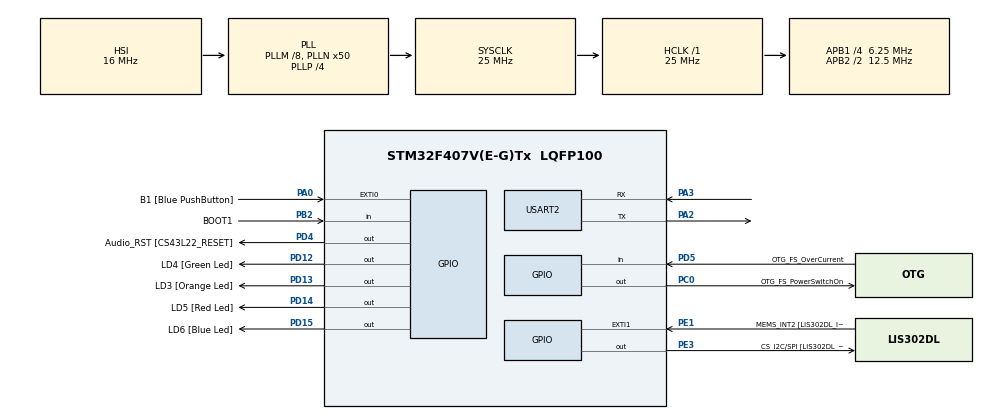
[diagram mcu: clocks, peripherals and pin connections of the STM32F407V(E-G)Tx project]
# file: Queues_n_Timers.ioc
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Mcu.Family=STM32F4
Mcu.Name=STM32F407V(E-G)Tx
Mcu.Package=LQFP100
NVIC.PriorityGroup=NVIC_PRIORITYGROUP_4
NVIC.TIM6_DAC_IRQn=true\:15\:0\:false\:false\:true\:false\:true\:true
NVIC.TimeBase=TIM6_DAC_IRQn
NVIC.TimeBaseIP=TIM6
NVIC.USART2_IRQn=true\:6\:0\:true\:false\:true\:true\:true\:true
PA0-WKUP.GPIO_Label=B1 [Blue PushButton]
PA0-WKUP.Signal=GPXTI0
PA10.GPIO_Label=OTG_FS_ID
PA10.GPIO_Mode=GPIO_MODE_AF_PP
PA10.GPIO_PuPd=GPIO_NOPULL
PA10.GPIO_Speed=GPIO_SPEED_FREQ_LOW
PA10.Signal=USB_OTG_FS_ID
PA11.GPIO_Label=OTG_FS_DM
PA11.GPIO_Mode=GPIO_MODE_AF_PP
PA11.GPIO_PuPd=GPIO_NOPULL
PA11.GPIO_Speed=GPIO_SPEED_FREQ_LOW
PA11.Signal=USB_OTG_FS_DM
PA12.GPIO_Label=OTG_FS_DP
PA12.GPIO_Mode=GPIO_MODE_AF_PP
PA12.GPIO_PuPd=GPIO_NOPULL
PA12.GPIO_Speed=GPIO_SPEED_FREQ_LOW
PA12.Signal=USB_OTG_FS_DP
PA13.GPIO_Label=SWDIO
PA13.Signal=SYS_JTMS-SWDIO
PA14.GPIO_Label=SWCLK
PA14.Signal=SYS_JTCK-SWCLK
PA2.Mode=Asynchronous
PA2.Signal=USART2_TX
PA3.Mode=Asynchronous
PA3.Signal=USART2_RX
PA4.GPIO_Label=I2S3_WS [CS43L22_LRCK]
PA4.GPIO_Mode=GPIO_MODE_AF_PP
PA4.GPIO_PuPd=GPIO_NOPULL
PA4.GPIO_Speed=GPIO_SPEED_FREQ_LOW
PA4.Signal=I2S3_WS
PA5.GPIO_Label=SPI1_SCK [LIS302DL_SCL/SPC]
PA5.GPIO_Mode=GPIO_MODE_AF_PP
PA5.GPIO_PuPd=GPIO_NOPULL
PA5.GPIO_Speed=GPIO_SPEED_FREQ_LOW
PA5.Signal=SPI1_SCK
PA6.GPIO_Label=SPI1_MISO [LIS302DL_SDO]
PA6.GPIO_Mode=GPIO_MODE_AF_PP
PA6.GPIO_PuPd=GPIO_NOPULL
PA6.GPIO_Speed=GPIO_SPEED_FREQ_LOW
PA6.Signal=SPI1_MISO
PA7.GPIO_Label=SPI1_MOSI [LIS302DL_SDA/SDI/SDO]
PA7.GPIO_Mode=GPIO_MODE_AF_PP
PA7.GPIO_PuPd=GPIO_NOPULL
PA7.GPIO_Speed=GPIO_SPEED_FREQ_LOW
PA7.Signal=SPI1_MOSI
PA9.GPIO_Label=VBUS_FS
PA9.GPIO_Mode=GPIO_MODE_INPUT
PA9.GPIO_PuPd=GPIO_NOPULL
PA9.Signal=USB_OTG_FS_VBUS
PB10.GPIO_Label=CLK_IN [MP45DT02_CLK]
PB10.GPIO_Mode=GPIO_MODE_AF_PP
PB10.GPIO_PuPd=GPIO_NOPULL
PB10.GPIO_Speed=GPIO_SPEED_FREQ_LOW
PB10.Signal=I2S2_CK
PB2.GPIO_Label=BOOT1
PB2.GPIO_Mode=GPIO_MODE_INPUT
PB2.GPIO_PuPd=GPIO_NOPULL
PB2.Signal=GPIO_Input
PB3.GPIO_Label=SWO
PB3.Signal=SYS_JTDO-SWO
PB6.GPIO_Label=Audio_SCL [CS43L22_SCL]
PB6.GPIO_Mode=GPIO_MODE_AF_OD
PB6.GPIO_PuPd=GPIO_NOPULL
PB6.GPIO_Speed=GPIO_SPEED_FREQ_LOW
PB6.Signal=I2C1_SCL
PB9.GPIO_Label=Audio_SDA [CS43L22_SDA]
PB9.GPIO_Mode=GPIO_MODE_AF_OD
PB9.GPIO_PuPd=GPIO_NOPULL
PB9.GPIO_Speed=GPIO_SPEED_FREQ_LOW
PB9.Signal=I2C1_SDA
PC0.GPIO_Label=OTG_FS_PowerSwitchOn
PC0.GPIO_PuPd=GPIO_NOPULL
PC0.GPIO_Speed=GPIO_SPEED_FREQ_LOW
PC0.PinState=GPIO_PIN_SET
PC0.Signal=GPIO_Output
PC10.GPIO_Label=I2S3_SCK [CS43L22_SCLK]
PC10.GPIO_Mode=GPIO_MODE_AF_PP
PC10.GPIO_PuPd=GPIO_NOPULL
PC10.GPIO_Speed=GPIO_SPEED_FREQ_LOW
PC10.Signal=I2S3_CK
PC12.GPIO_Label=I2S3_SD [CS43L22_SDIN]
PC12.GPIO_Mode=GPIO_MODE_AF_PP
PC12.GPIO_PuPd=GPIO_NOPULL
PC12.GPIO_Speed=GPIO_SPEED_FREQ_LOW
PC12.Signal=I2S3_SD
PC14-OSC32_IN.GPIO_Label=PC14-OSC32_IN
PC14-OSC32_IN.Signal=RCC_OSC32_IN
PC15-OSC32_OUT.GPIO_Label=PC15-OSC32_OUT
PC15-OSC32_OUT.Signal=RCC_OSC32_OUT
PC3.GPIO_Label=PDM_OUT [MP45DT02_DOUT]
PC3.GPIO_Mode=GPIO_MODE_AF_PP
PC3.GPIO_PuPd=GPIO_NOPULL
PC3.GPIO_Speed=GPIO_SPEED_FREQ_LOW
PC3.Signal=I2S2_SD
PC7.GPIO_Label=I2S3_MCK [CS43L22_MCLK]
PC7.GPIO_Mode=GPIO_MODE_AF_PP
PC7.GPIO_PuPd=GPIO_NOPULL
PC7.GPIO_Speed=GPIO_SPEED_FREQ_LOW
PC7.Signal=I2S3_MCK
PD12.GPIO_Label=LD4 [Green Led]
PD12.GPIO_PuPd=GPIO_NOPULL
PD12.GPIO_Speed=GPIO_SPEED_FREQ_LOW
PD12.Signal=GPIO_Output
PD13.GPIO_Label=LD3 [Orange Led]
PD13.GPIO_PuPd=GPIO_NOPULL
PD13.GPIO_Speed=GPIO_SPEED_FREQ_LOW
PD13.Signal=GPIO_Output
PD14.GPIO_Label=LD5 [Red Led]
PD14.GPIO_PuPd=GPIO_NOPULL
PD14.GPIO_Speed=GPIO_SPEED_FREQ_LOW
PD14.Signal=GPIO_Output
PD15.GPIO_Label=LD6 [Blue Led]
PD15.GPIO_PuPd=GPIO_NOPULL
PD15.GPIO_Speed=GPIO_SPEED_FREQ_LOW
PD15.Signal=GPIO_Output
PD4.GPIO_Label=Audio_RST [CS43L22_RESET]
PD4.GPIO_PuPd=GPIO_NOPULL
PD4.GPIO_Speed=GPIO_SPEED_FREQ_LOW
PD4.Signal=GPIO_Output
PD5.GPIO_Label=OTG_FS_OverCurrent
PD5.GPIO_Mode=GPIO_MODE_INPUT
PD5.GPIO_PuPd=GPIO_NOPULL
PD5.Signal=GPIO_Input
PE1.GPIO_Label=MEMS_INT2 [LIS302DL_INT2]
PE1.GPIO_ModeDefaultEXTI=GPIO_MODE_EVT_RISING
PE1.GPIO_PuPd=GPIO_NOPULL
PE1.Signal=GPXTI1
PE3.GPIO_Label=CS_I2C/SPI [LIS302DL_CS_I2C/SPI]
PE3.GPIO_PuPd=GPIO_NOPULL
PE3.GPIO_Speed=GPIO_SPEED_FREQ_LOW
PE3.Signal=GPIO_Output
PH0-OSC_IN.GPIO_Label=PH0-OSC_IN
PH0-OSC_IN.Signal=RCC_OSC_IN
PH1-OSC_OUT.GPIO_Label=PH1-OSC_OUT
PH1-OSC_OUT.Signal=RCC_OSC_OUT
ProjectManager.HeapSize=0x200
ProjectManager.StackSize=0x400
ProjectManager.TargetToolchain=STM32CubeIDE
RCC.48MHZClocksFreq_Value=14285714.285714285
RCC.AHBFreq_Value=25000000
RCC.APB1CLKDivider=RCC_HCLK_DIV4
RCC.APB1Freq_Value=6250000
RCC.APB1TimFreq_Value=12500000
RCC.APB2CLKDivider=RCC_HCLK_DIV2
RCC.APB2Freq_Value=12500000
RCC.APB2TimFreq_Value=25000000
RCC.CortexFreq_Value=25000000
RCC.HCLKFreq_Value=25000000
RCC.HSE_VALUE=8000000
RCC.HSI_VALUE=16000000
RCC.LSE_VALUE=32768
RCC.PLLM=8
RCC.PLLN=50
RCC.PLLP=RCC_PLLP_DIV4
RCC.PLLQ=7
RCC.SYSCLKFreq_VALUE=25000000
RCC.SYSCLKSource=RCC_SYSCLKSOURCE_PLLCLK
RCC.VCOOutputFreq_Value=100000000
RTC.HourFormat=RTC_HOURFORMAT_12
USART2.VirtualMode=VM_ASYNC
VP_RTC_VS_RTC_Activate.Mode=RTC_Enabled
VP_SYS_VS_tim6.Mode=TIM6
board=STM32F407G-DISC1

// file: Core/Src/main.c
/* USER CODE BEGIN Header */
/**
  ******************************************************************************
  * @file           : main.c
  * @brief          : Main program body
  ******************************************************************************
  * @attention
  *
  * Copyright (c) 2026 STMicroelectronics.
  * All rights reserved.
  *
  * This software is licensed under terms that can be found in the LICENSE file
  * in the root directory of this software component.
  * If no LICENSE file comes with this software, it is provided AS-IS.
  *
  ******************************************************************************
  */
/* USER CODE END Header */
#include "main.h"

/* USER CODE BEGIN Includes */
#include <stdio.h>
/* USER CODE END Includes */

RTC_HandleTypeDef hrtc;

UART_HandleTypeDef huart2;

/* USER CODE BEGIN PV */
#define DWT_CTRL   (*(volatile uint32_t*)0xE0001000)  //DWT is downcounter uswesd for timestamps which are used in SEGGER view , not usefull for this project

state_t curr_state = sMainMenu;
TaskHandle_t  handle_menu_task,handle_cmd_task,handle_print_task,handle_led_task,handle_rtc_task;
QueueHandle_t q_user_data,q_print_msg;
TimerHandle_t handle_led_timer[4];
/* USER CODE END PV */

void SystemClock_Config(void);
static void MX_GPIO_Init(void);
static void MX_RTC_Init(void);
static void MX_USART2_UART_Init(void);
/* USER CODE BEGIN PFP */
void led_effect_callback(TimerHandle_t xTimer);

/* USER CODE END PFP */

/* USER CODE BEGIN 0 */

volatile uint8_t user_data;

/* USER CODE END 0 */

int main(void)
{

  /* USER CODE BEGIN 1 */
	BaseType_t status;
  /* USER CODE END 1 */

  /* MCU Configuration--------------------------------------------------------*/

  /* Reset of all peripherals, Initializes the Flash interface and the Systick. */
  HAL_Init();

  /* Configure the system clock */
  SystemClock_Config();

  /* Initialize all configured peripherals */
  MX_GPIO_Init();
  MX_RTC_Init();
  MX_USART2_UART_Init();
  /* USER CODE BEGIN 2 */
  status = xTaskCreate(menu_task,"menu_task", 250,NULL,2, &handle_menu_task);
  configASSERT(status == pdPASS);

  status = xTaskCreate(cmd_task,"cmd_task", 250,NULL,2, &handle_cmd_task);
  configASSERT(status == pdPASS);

  status = xTaskCreate(print_task,"print_task", 250,NULL,2, &handle_print_task);
  configASSERT(status == pdPASS);

  status = xTaskCreate(led_task,"led_task", 250,NULL,2, &handle_led_task);
  configASSERT(status == pdPASS);

  /*status = xTaskCreate(rtc_task,"rtc_task", 250,NULL,2, &handle_rtc_task);
  configASSERT(status == pdPASS);
  */

  q_user_data = xQueueCreate(10,sizeof(char)); //creates an queue dynamically
  configASSERT(q_user_data !=NULL);

  q_print_msg = xQueueCreate(10,sizeof(size_t)); //creates an queue dynamically
  configASSERT(q_print_msg !=NULL);

  //create 4 s/w timers
  for(uint8_t i=0;i<4;i++)
  {
	  handle_led_timer[i]=xTimerCreate("led_timer",pdMS_TO_TICKS(500), pdTRUE,(void*)(i+1),led_effect_callback);
	  //callback is called when the timer expires

  }

  HAL_UART_Receive_IT(&huart2, (uint8_t *)&user_data,1);

  vTaskStartScheduler();

  /* USER CODE END 2 */

  /* Infinite loop */
  while (1)
  {

  }
}

void SystemClock_Config(void)
{
  RCC_OscInitTypeDef RCC_OscInitStruct = {0};
  RCC_ClkInitTypeDef RCC_ClkInitStruct = {0};

  /** Configure the main internal regulator output voltage
  */
  __HAL_RCC_PWR_CLK_ENABLE();
  __HAL_PWR_VOLTAGESCALING_CONFIG(PWR_REGULATOR_VOLTAGE_SCALE1);

  /** Initializes the RCC Oscillators according to the specified parameters
  * in the RCC_OscInitTypeDef structure.
  */
  RCC_OscInitStruct.OscillatorType = RCC_OSCILLATORTYPE_HSI|RCC_OSCILLATORTYPE_LSI;
  RCC_OscInitStruct.HSIState = RCC_HSI_ON;
  RCC_OscInitStruct.HSICalibrationValue = RCC_HSICALIBRATION_DEFAULT;
  RCC_OscInitStruct.LSIState = RCC_LSI_ON;
  RCC_OscInitStruct.PLL.PLLState = RCC_PLL_ON;
  RCC_OscInitStruct.PLL.PLLSource = RCC_PLLSOURCE_HSI;
  RCC_OscInitStruct.PLL.PLLM = 8;
  RCC_OscInitStruct.PLL.PLLN = 50;
  RCC_OscInitStruct.PLL.PLLP = RCC_PLLP_DIV4;
  RCC_OscInitStruct.PLL.PLLQ = 7;
  if (HAL_RCC_OscConfig(&RCC_OscInitStruct) != HAL_OK)
  {
    Error_Handler();
  }

  /** Initializes the CPU, AHB and APB buses clocks
  */
  RCC_ClkInitStruct.ClockType = RCC_CLOCKTYPE_HCLK|RCC_CLOCKTYPE_SYSCLK
                              |RCC_CLOCKTYPE_PCLK1|RCC_CLOCKTYPE_PCLK2;
  RCC_ClkInitStruct.SYSCLKSource = RCC_SYSCLKSOURCE_PLLCLK;
  RCC_ClkInitStruct.AHBCLKDivider = RCC_SYSCLK_DIV1;
  RCC_ClkInitStruct.APB1CLKDivider = RCC_HCLK_DIV4;
  RCC_ClkInitStruct.APB2CLKDivider = RCC_HCLK_DIV2;

  if (HAL_RCC_ClockConfig(&RCC_ClkInitStruct, FLASH_LATENCY_0) != HAL_OK)
  {
    Error_Handler();
  }
}

static void MX_RTC_Init(void)
{

  /** Initialize RTC Only
  */
  hrtc.Instance = RTC;
  hrtc.Init.HourFormat = RTC_HOURFORMAT_12;
  hrtc.Init.AsynchPrediv = 127;
  hrtc.Init.SynchPrediv = 255;
  hrtc.Init.OutPut = RTC_OUTPUT_DISABLE;
  hrtc.Init.OutPutPolarity = RTC_OUTPUT_POLARITY_HIGH;
  hrtc.Init.OutPutType = RTC_OUTPUT_TYPE_OPENDRAIN;
  if (HAL_RTC_Init(&hrtc) != HAL_OK)
  {
    Error_Handler();
  }

}

static void MX_USART2_UART_Init(void)
{

  huart2.Instance = USART2;
  huart2.Init.BaudRate = 115200;
  huart2.Init.WordLength = UART_WORDLENGTH_8B;
  huart2.Init.StopBits = UART_STOPBITS_1;
  huart2.Init.Parity = UART_PARITY_NONE;
  huart2.Init.Mode = UART_MODE_TX_RX;
  huart2.Init.HwFlowCtl = UART_HWCONTROL_NONE;
  huart2.Init.OverSampling = UART_OVERSAMPLING_16;
  if (HAL_UART_Init(&huart2) != HAL_OK)
  {
    Error_Handler();
  }

}

static void MX_GPIO_Init(void)
{
  GPIO_InitTypeDef GPIO_InitStruct = {0};

  /* GPIO Ports Clock Enable */
  __HAL_RCC_GPIOE_CLK_ENABLE();
  __HAL_RCC_GPIOC_CLK_ENABLE();
  __HAL_RCC_GPIOH_CLK_ENABLE();
  __HAL_RCC_GPIOA_CLK_ENABLE();
  __HAL_RCC_GPIOB_CLK_ENABLE();
  __HAL_RCC_GPIOD_CLK_ENABLE();

  /*Configure GPIO pin Output Level */
  HAL_GPIO_WritePin(CS_I2C_SPI_GPIO_Port, CS_I2C_SPI_Pin, GPIO_PIN_RESET);

  /*Configure GPIO pin Output Level */
  HAL_GPIO_WritePin(OTG_FS_PowerSwitchOn_GPIO_Port, OTG_FS_PowerSwitchOn_Pin, GPIO_PIN_SET);

  /*Configure GPIO pin Output Level */
  HAL_GPIO_WritePin(GPIOD, LD4_Pin|LD3_Pin|LD5_Pin|LD6_Pin
                          |Audio_RST_Pin, GPIO_PIN_RESET);

  /*Configure GPIO pin : CS_I2C_SPI_Pin */
  GPIO_InitStruct.Pin = CS_I2C_SPI_Pin;
  GPIO_InitStruct.Mode = GPIO_MODE_OUTPUT_PP;
  GPIO_InitStruct.Pull = GPIO_NOPULL;
  GPIO_InitStruct.Speed = GPIO_SPEED_FREQ_LOW;
  HAL_GPIO_Init(CS_I2C_SPI_GPIO_Port, &GPIO_InitStruct);

  /*Configure GPIO pin : OTG_FS_PowerSwitchOn_Pin */
  GPIO_InitStruct.Pin = OTG_FS_PowerSwitchOn_Pin;
  GPIO_InitStruct.Mode = GPIO_MODE_OUTPUT_PP;
  GPIO_InitStruct.Pull = GPIO_NOPULL;
  GPIO_InitStruct.Speed = GPIO_SPEED_FREQ_LOW;
  HAL_GPIO_Init(OTG_FS_PowerSwitchOn_GPIO_Port, &GPIO_InitStruct);

  /*Configure GPIO pin : PDM_OUT_Pin */
  GPIO_InitStruct.Pin = PDM_OUT_Pin;
  GPIO_InitStruct.Mode = GPIO_MODE_AF_PP;
  GPIO_InitStruct.Pull = GPIO_NOPULL;
  GPIO_InitStruct.Speed = GPIO_SPEED_FREQ_LOW;
  GPIO_InitStruct.Alternate = GPIO_AF5_SPI2;
  HAL_GPIO_Init(PDM_OUT_GPIO_Port, &GPIO_InitStruct);

  /*Configure GPIO pin : B1_Pin */
  GPIO_InitStruct.Pin = B1_Pin;
  GPIO_InitStruct.Mode = GPIO_MODE_IT_RISING;
  GPIO_InitStruct.Pull = GPIO_NOPULL;
  HAL_GPIO_Init(B1_GPIO_Port, &GPIO_InitStruct);

  /*Configure GPIO pin : I2S3_WS_Pin */
  GPIO_InitStruct.Pin = I2S3_WS_Pin;
  GPIO_InitStruct.Mode = GPIO_MODE_AF_PP;
  GPIO_InitStruct.Pull = GPIO_NOPULL;
  GPIO_InitStruct.Speed = GPIO_SPEED_FREQ_LOW;
  GPIO_InitStruct.Alternate = GPIO_AF6_SPI3;
  HAL_GPIO_Init(I2S3_WS_GPIO_Port, &GPIO_InitStruct);

  /*Configure GPIO pins : SPI1_SCK_Pin SPI1_MISO_Pin SPI1_MOSI_Pin */
  GPIO_InitStruct.Pin = SPI1_SCK_Pin|SPI1_MISO_Pin|SPI1_MOSI_Pin;
  GPIO_InitStruct.Mode = GPIO_MODE_AF_PP;
  GPIO_InitStruct.Pull = GPIO_NOPULL;
  GPIO_InitStruct.Speed = GPIO_SPEED_FREQ_LOW;
  GPIO_InitStruct.Alternate = GPIO_AF5_SPI1;
  HAL_GPIO_Init(GPIOA, &GPIO_InitStruct);

  /*Configure GPIO pin : BOOT1_Pin */
  GPIO_InitStruct.Pin = BOOT1_Pin;
  GPIO_InitStruct.Mode = GPIO_MODE_INPUT;
  GPIO_InitStruct.Pull = GPIO_NOPULL;
  HAL_GPIO_Init(BOOT1_GPIO_Port, &GPIO_InitStruct);

  /*Configure GPIO pin : CLK_IN_Pin */
  GPIO_InitStruct.Pin = CLK_IN_Pin;
  GPIO_InitStruct.Mode = GPIO_MODE_AF_PP;
  GPIO_InitStruct.Pull = GPIO_NOPULL;
  GPIO_InitStruct.Speed = GPIO_SPEED_FREQ_LOW;
  GPIO_InitStruct.Alternate = GPIO_AF5_SPI2;
  HAL_GPIO_Init(CLK_IN_GPIO_Port, &GPIO_InitStruct);

  /*Configure GPIO pins : LD4_Pin LD3_Pin LD5_Pin LD6_Pin
                           Audio_RST_Pin */
  GPIO_InitStruct.Pin = LD4_Pin|LD3_Pin|LD5_Pin|LD6_Pin
                          |Audio_RST_Pin;
  GPIO_InitStruct.Mode = GPIO_MODE_OUTPUT_PP;
  GPIO_InitStruct.Pull = GPIO_NOPULL;
  GPIO_InitStruct.Speed = GPIO_SPEED_FREQ_LOW;
  HAL_GPIO_Init(GPIOD, &GPIO_InitStruct);

  /*Configure GPIO pins : I2S3_MCK_Pin I2S3_SCK_Pin I2S3_SD_Pin */
  GPIO_InitStruct.Pin = I2S3_MCK_Pin|I2S3_SCK_Pin|I2S3_SD_Pin;
  GPIO_InitStruct.Mode = GPIO_MODE_AF_PP;
  GPIO_InitStruct.Pull = GPIO_NOPULL;
  GPIO_InitStruct.Speed = GPIO_SPEED_FREQ_LOW;
  GPIO_InitStruct.Alternate = GPIO_AF6_SPI3;
  HAL_GPIO_Init(GPIOC, &GPIO_InitStruct);

  /*Configure GPIO pin : VBUS_FS_Pin */
  GPIO_InitStruct.Pin = VBUS_FS_Pin;
  GPIO_InitStruct.Mode = GPIO_MODE_INPUT;
  GPIO_InitStruct.Pull = GPIO_NOPULL;
  HAL_GPIO_Init(VBUS_FS_GPIO_Port, &GPIO_InitStruct);

  /*Configure GPIO pins : OTG_FS_ID_Pin OTG_FS_DM_Pin OTG_FS_DP_Pin */
  GPIO_InitStruct.Pin = OTG_FS_ID_Pin|OTG_FS_DM_Pin|OTG_FS_DP_Pin;
  GPIO_InitStruct.Mode = GPIO_MODE_AF_PP;
  GPIO_InitStruct.Pull = GPIO_NOPULL;
  GPIO_InitStruct.Speed = GPIO_SPEED_FREQ_LOW;
  GPIO_InitStruct.Alternate = GPIO_AF10_OTG_FS;
  HAL_GPIO_Init(GPIOA, &GPIO_InitStruct);

  /*Configure GPIO pin : OTG_FS_OverCurrent_Pin */
  GPIO_InitStruct.Pin = OTG_FS_OverCurrent_Pin;
  GPIO_InitStruct.Mode = GPIO_MODE_INPUT;
  GPIO_InitStruct.Pull = GPIO_NOPULL;
  HAL_GPIO_Init(OTG_FS_OverCurrent_GPIO_Port, &GPIO_InitStruct);

  /*Configure GPIO pins : Audio_SCL_Pin Audio_SDA_Pin */
  GPIO_InitStruct.Pin = Audio_SCL_Pin|Audio_SDA_Pin;
  GPIO_InitStruct.Mode = GPIO_MODE_AF_OD;
  GPIO_InitStruct.Pull = GPIO_NOPULL;
  GPIO_InitStruct.Speed = GPIO_SPEED_FREQ_LOW;
  GPIO_InitStruct.Alternate = GPIO_AF4_I2C1;
  HAL_GPIO_Init(GPIOB, &GPIO_InitStruct);

  /*Configure GPIO pin : MEMS_INT2_Pin */
  GPIO_InitStruct.Pin = MEMS_INT2_Pin;
  GPIO_InitStruct.Mode = GPIO_MODE_EVT_RISING;
  GPIO_InitStruct.Pull = GPIO_NOPULL;
  HAL_GPIO_Init(MEMS_INT2_GPIO_Port, &GPIO_InitStruct);

}

/* USER CODE BEGIN 4 */

void led_effect_callback(TimerHandle_t xTimer)
{
	 int id;
	 id = ( uint32_t ) pvTimerGetTimerID( xTimer );

	 switch(id)
	 {
	 case 1 :
		 LED_effect1(); // has the logic to turn of and all leds
		 break;
	 case 2:
		 LED_effect2();
		 break;
	 case 3:
		 LED_effect3();
		 break;
	 case 4:
		 LED_effect4();
	 }

}
void HAL_UART_RxCpltCallback(UART_HandleTypeDef *huart)
{
	//before this enable data reception

	//everytime a data is received this is called on data receive completion

	//whenever the data byte is recived this gets executed
	//store the data byte into the data queue
	//when '\n' is detected , notify the command handling task
    if (user_data == '\r')
    {
        HAL_UART_Receive_IT(&huart2, (uint8_t*)&user_data, 1);
        return;
    }

	if(xQueueIsQueueFullFromISR(q_user_data)==pdFALSE)
	{
			/*Queue is not full */
		    xQueueSendToBackFromISR(q_user_data,(void*)&user_data,NULL);

	}else{
			/*Queue is full */

		if(user_data == '\n')
		{
			xQueueOverwriteFromISR(q_user_data,(void *)&user_data,NULL);

		}
	}

	if(user_data == '\n')
	{
		xTaskNotifyFromISR(handle_cmd_task,0,eNoAction,NULL);

	}

	HAL_UART_Receive_IT(&huart2, (uint8_t*)&user_data,1); //since it gets disabled , we enable it back

}

/* USER CODE END 4 */

void HAL_TIM_PeriodElapsedCallback(TIM_HandleTypeDef *htim)
{
  if (htim->Instance == TIM6)
  {
    HAL_IncTick();
  }
}

void Error_Handler(void)
{
  __disable_irq();
  while (1)
  {
  }
}
